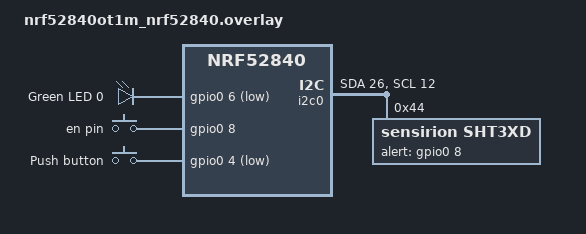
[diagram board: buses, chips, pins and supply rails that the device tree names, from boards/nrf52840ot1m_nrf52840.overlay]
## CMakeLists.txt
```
# SPDX-License-Identifier: Apache-2.0

cmake_minimum_required(VERSION 3.13.1)

set(BOARD nrf52840ot1m_nrf52840)

find_package(Zephyr HINTS $ENV{ZEPHYR_BASE})

include_directories(${CMAKE_SOURCE_DIR}/build/zephyr/include/generated)

file(STRINGS
        ${CMAKE_SOURCE_DIR}/build/zephyr/include/generated/autoconf.h
        LIST_OF_CONFIGS
        REGEX "^#define CONFIG_"
        ENCODING "UTF-8"
        )
foreach (CONFIG ${LIST_OF_CONFIGS})
    string(REPLACE " " ";" CONFIG_ITEM_LIST ${CONFIG})
    list(GET CONFIG_ITEM_LIST 1 CONFIG_ITEM_NAME)
    list(GET CONFIG_ITEM_LIST 2 CONFIG_ITEM_VALUE)
#    message(${CONFIG_ITEM_NAME})
#    message(${CONFIG_ITEM_VALUE})
    add_definitions('-D${CONFIG_ITEM_NAME}=${CONFIG_ITEM_VALUE}')
    set(${CONFIG_ITEM_NAME} ${CONFIG_ITEM_VALUE})
endforeach()

include_directories(${ZEPHYR_BASE}/subsys/net/ip ../modules/lib/openthread/include)

project(coap_sensor)
target_sources(app PRIVATE src/led.c src/sensor_en.c src/main.c)

target_include_directories(app PRIVATE ${CMAKE_SOURCE_DIR}/src)
```

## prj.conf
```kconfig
# 通用配置
CONFIG_GPIO=y
CONFIG_CONSOLE=n
CONFIG_SHELL_BACKENDS=n
CONFIG_UART_CONSOLE=n
CONFIG_SERIAL=n

CONFIG_LOG=y
CONFIG_BOOTLOADER_MCUBOOT=y


CONFIG_POLL=y
CONFIG_REBOOT=y
CONFIG_LOG_BACKEND_UART=n
CONFIG_LOG_BACKEND_RTT=y
CONFIG_LOG_DEFAULT_LEVEL=3
CONFIG_SENSOR_LOG_LEVEL_DBG=y
CONFIG_RING_BUFFER=y

CONFIG_I2C=y
CONFIG_SENSOR=y
CONFIG_SHT3XD=y

CONFIG_I2C_LOG_LEVEL_DBG=y


CONFIG_SETTINGS=y
CONFIG_NVS=y
CONFIG_SETTINGS_NVS=y
CONFIG_SYS_POWER_MANAGEMENT=y
CONFIG_DEVICE_POWER_MANAGEMENT=y

# Kernel options
CONFIG_MAIN_STACK_SIZE=2048
CONFIG_ENTROPY_GENERATOR=y
CONFIG_TEST_RANDOM_GENERATOR=y
CONFIG_INIT_STACKS=y

CONFIG_NEWLIB_LIBC=y

# Generic networking options
CONFIG_NETWORKING=y
CONFIG_NET_UDP=y
CONFIG_NET_TCP=n
CONFIG_NET_IPV6=y
CONFIG_NET_IPV4=n
CONFIG_NET_SOCKETS=y
CONFIG_NET_SOCKETS_POSIX_NAMES=y
CONFIG_NET_SOCKETS_POLL_MAX=4
CONFIG_NET_CONNECTION_MANAGER=y

# Kernel options
CONFIG_MAIN_STACK_SIZE=2048
CONFIG_ENTROPY_GENERATOR=y
CONFIG_TEST_RANDOM_GENERATOR=y
CONFIG_INIT_STACKS=y

# Logging
CONFIG_NET_LOG=y
CONFIG_LOG_STRDUP_BUF_COUNT=10
CONFIG_NET_STATISTICS=y
CONFIG_PRINTK=y

# Network buffers
CONFIG_NET_PKT_RX_COUNT=16
CONFIG_NET_PKT_TX_COUNT=16
CONFIG_NET_BUF_RX_COUNT=80
CONFIG_NET_BUF_TX_COUNT=80
CONFIG_NET_CONTEXT_NET_PKT_POOL=y

# IP address options
CONFIG_NET_IF_UNICAST_IPV6_ADDR_COUNT=3
CONFIG_NET_IF_MCAST_IPV6_ADDR_COUNT=4
CONFIG_NET_MAX_CONTEXTS=10

# Network shell
CONFIG_NET_SHELL=n

# The addresses are selected so that qemu<->qemu connectivity works ok.
# For linux<->qemu connectivity, create a new conf file and swap the
# addresses (so that peer address is ending to 2).
CONFIG_NET_CONFIG_SETTINGS=y
CONFIG_NET_CONFIG_NEED_IPV6=y

CONFIG_NEWLIB_LIBC=y

CONFIG_NET_IPV6_NBR_CACHE=n
CONFIG_NET_IPV6_MLD=n
CONFIG_NET_CONFIG_NEED_IPV4=n

CONFIG_SYSTEM_WORKQUEUE_STACK_SIZE=2048
CONFIG_SHELL_STACK_SIZE=3072

CONFIG_NET_L2_OPENTHREAD=y

CONFIG_OPENTHREAD_DEBUG=y
CONFIG_OPENTHREAD_L2_DEBUG=y
CONFIG_OPENTHREAD_L2_LOG_LEVEL_INF=y
# CONFIG_OPENTHREAD_L2_LOG_LEVEL_DBG=y
CONFIG_OPENTHREAD_CHANNEL=26

# mbedTLS tweaks
CONFIG_MBEDTLS_SSL_MAX_CONTENT_LEN=768

# A sample configuration to enable Thread Joiner, uncomment if needed
CONFIG_OPENTHREAD_JOINER=y
#CONFIG_OPENTHREAD_JOINER_AUTOSTART=y

# Enable diagnostic module, uncomment if needed
#CONFIG_OPENTHREAD_DIAG=yAPP_MAX_COAP_MSG_LEN

CONFIG_OPENTHREAD_MANUAL_START=y
CONFIG_OPENTHREAD_SHELL=n
CONFIG_OPENTHREAD_SLAAC=y
CONFIG_OPENTHREAD_MTD=y
```

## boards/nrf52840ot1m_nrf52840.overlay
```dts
/ {
    leds {
		compatible = "gpio-leds";
		led0: led_0 {
			gpios = <&gpio0 6 GPIO_ACTIVE_LOW>;
			label = "Green LED 0";
		};
	};
	buttons {
        compatible = "gpio-keys";
        button0: button_0 {
            gpios = <&gpio0 8 (GPIO_PULL_DOWN | GPIO_ACTIVE_HIGH)>;
            label = "en pin";
        };
        button1: button_1 {
            gpios = <&gpio0 4 (GPIO_PULL_UP | GPIO_ACTIVE_LOW)>;
            label = "Push button";
        };
    };
    aliases {
        btnen = &button0;
        btnpush = &button1;
    };
};
&uart0 {
    status = "disabled";
};

&i2c0 { /* SDA P0.26, SCL P0.12*/
    compatible = "nordic,nrf-twi";
	status = "okay";
	sda-pin = <26>;
	scl-pin = <12>;
	sht3xd@44 {
		compatible = "sensirion,sht3xd";
		reg = <0x44>;
		label = "SHT3XD";
		alert-gpios = <&gpio0 8 GPIO_ACTIVE_HIGH>;
	};
};
```

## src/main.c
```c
/*
 * main 线程，进行公共的初始化操作，然后启动其他线程
 */

#include <zephyr.h>
#include <logging/log.h>
LOG_MODULE_REGISTER(main, LOG_LEVEL_INF);
#include <device.h>
#include <drivers/sensor.h>
#include <stdio.h>
#include <devicetree.h>
#include <drivers/gpio.h>


/* The devicetree node identifier for the "led0" alias. */
#define LED0_NODE DT_ALIAS(led0)
#define LED0	DT_GPIO_LABEL(LED0_NODE, gpios)
#define LED_PIN	DT_GPIO_PIN(LED0_NODE, gpios)
#define LED_FLAGS	DT_GPIO_FLAGS(LED0_NODE, gpios)

void main(void) {
    LOG_INF("OT1M Starting...");
    int ret;
    const struct device *dev = device_get_binding("SHT3XD");

    if (dev == NULL) {
        LOG_INF("Could not get dev");
        return;
    }

    while (true) {
        struct sensor_value temp, hum;

        ret = sensor_sample_fetch(dev);
        if (ret == 0) {
            ret = sensor_channel_get(dev, SENSOR_CHAN_AMBIENT_TEMP,
                                    &temp);
        }
        if (ret == 0) {
            ret = sensor_channel_get(dev, SENSOR_CHAN_HUMIDITY,
                                    &hum);
        }
        if (ret != 0) {
            LOG_INF("SHT3XD: failed: %d\n", ret);
            break;
        }
        LOG_INF("SHT3XD: %d,%d Cel ; %d,%d %%RH\n",
               temp.val1, temp.val2,
               hum.val1, hum.val2);

        k_sleep(K_MSEC(2000));
    }
    LOG_ERR("NEVER RUN!");
}
```

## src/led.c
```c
//
// Created by yplam on 12/1/2021.
//
#include <zephyr.h>
#include <init.h>
#include <logging/log.h>
LOG_MODULE_REGISTER(led, LOG_LEVEL_INF);
#include <device.h>
#include <devicetree.h>
#include <drivers/gpio.h>

#define LED0_NODE DT_NODELABEL(led0)
#define LED0	DT_GPIO_LABEL(LED0_NODE, gpios)
#define LED_PIN	DT_GPIO_PIN(LED0_NODE, gpios)
#define LED_FLAGS	DT_GPIO_FLAGS(LED0_NODE, gpios)

static const struct device *led_dev;

static int app_led_startup(const struct device *dev){
    led_dev =device_get_binding(LED0);
    int ret;
    LOG_INF("config led");
    if (led_dev == NULL) {
        LOG_INF("Could not get led_dev");
        return 0;
    }
    ret = gpio_pin_configure(led_dev, LED_PIN, GPIO_OUTPUT | LED_FLAGS);
    if (ret < 0) {
        LOG_INF("Can not set pin");
        return 0;
    }
    gpio_pin_set(led_dev, LED_PIN, 1);
    return 0;
}

SYS_INIT(app_led_startup, APPLICATION, CONFIG_APPLICATION_INIT_PRIORITY);
```

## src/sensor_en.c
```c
//
// Created by yplam on 12/1/2021.
//
#include <zephyr.h>
#include <init.h>
#include <logging/log.h>
LOG_MODULE_REGISTER(app_sensor, LOG_LEVEL_INF);
#include <device.h>
#include <devicetree.h>
#include <drivers/gpio.h>

#define EN_NODE DT_ALIAS(btnen)

#define EN	DT_GPIO_LABEL(EN_NODE, gpios)
#define PIN	DT_GPIO_PIN(EN_NODE, gpios)
#define FLAGS	DT_GPIO_FLAGS(EN_NODE, gpios)

static int app_en_sensor_startup(const struct device *dev){
    const struct device *en_dev =device_get_binding(EN);
    int ret;

    if (en_dev == NULL) {
        LOG_INF("Could not get en dev");
        return 0;
    }
    ret = gpio_pin_configure(en_dev, PIN, GPIO_OUTPUT | GPIO_ACTIVE_HIGH);
    if (ret < 0) {
        LOG_INF("Can not set pin");
        return 0;
    }
    gpio_pin_set(en_dev, PIN, 1);
    LOG_INF("sensor enabled");
    return 0;
}

SYS_INIT(app_en_sensor_startup, POST_KERNEL, CONFIG_SENSOR_INIT_PRIORITY-10);
```
